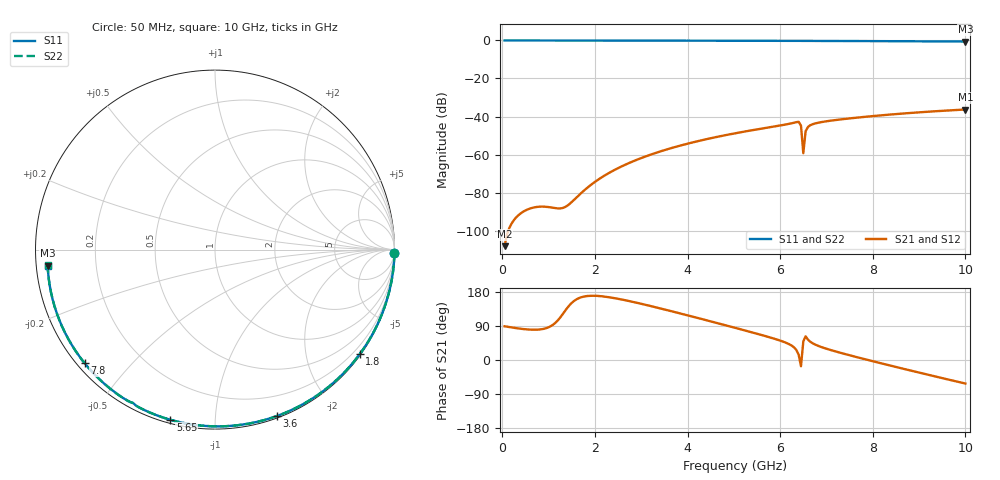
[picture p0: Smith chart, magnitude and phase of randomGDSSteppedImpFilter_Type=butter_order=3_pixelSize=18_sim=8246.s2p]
! freq	dB(S11)	phase(S11)	dB(S12)	phase(S12)
!  dB(S21)	phase(S21)	dB(S22)	phase(S22)
!S-par simulation data
#  GHz  S  DB  R 50
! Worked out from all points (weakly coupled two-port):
!   200 points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, 50 MHz to 10 GHz, reference 50 ohm
!   highest |S21| = -36.32 dB at 10 GHz (marker M1); lowest = -108.2 dB at 50 MHz (marker M2)
!   lowest |S11| = -0.6 dB at 10 GHz (marker M3), VSWR 30.56, Z = 1.64 - j2.4 ohm
!   |S11| at or under -10 dB: nowhere
!   |S22| runs from -0.6 to 0.0 dB; largest |S21 - S12| = 0
!   S11 on the Smith chart (normalised r, x): 50 MHz: open; 1.8 GHz: 0.03, -3.09; 3.6 GHz: 0.02, -1.44; 5.65 GHz: 0.02, -0.77; 7.8 GHz: 0.02, -0.37; 10 GHz: 0.03, -0.05
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0.05  -0.00 -1.0  -108.17 89.0  -108.17 89.0  -0.00 -1.0
0.85  -0.02 -17.1  -87.37 81.2  -87.37 81.2  -0.02 -17.1
1.7  -0.04 -33.9  -80.34 165.4  -80.34 165.4  -0.04 -33.9
1.75  -0.04 -34.8  -79.24 167.1  -79.24 167.1  -0.04 -34.9
1.8  -0.05 -35.8  -78.18 168.2  -78.18 168.2  -0.05 -35.8
2.1  -0.05 -41.6  -72.71 168.7  -72.71 168.7  -0.05 -41.6
2.45  -0.06 -48.3  -67.75 162.7  -67.75 162.7  -0.06 -48.3
2.9  -0.07 -56.7  -62.79 151.2  -62.79 151.2  -0.07 -56.8
3.4  -0.09 -65.9  -58.45 136.5  -58.45 136.5  -0.09 -65.9
3.6  -0.09 -69.5  -56.96 130.4  -56.96 130.4  -0.09 -69.6
5.05  -0.15 -94.7  -48.71 84.2  -48.71 84.2  -0.15 -94.8
5.65  -0.17 -104.7  -46.15 64.2  -46.15 64.2  -0.17 -104.8
6.4  -0.23 -117.0  -42.79 13.9  -42.79 13.9  -0.23 -117.1
6.45  -0.27 -117.8  -44.79 -16.5  -44.79 -16.5  -0.27 -117.9
6.5  -0.27 -118.3  -59.29 49.3  -59.29 49.3  -0.27 -118.4
6.55  -0.25 -119.0  -47.70 62.5  -47.70 62.5  -0.25 -119.2
6.6  -0.24 -119.9  -45.51 53.8  -45.51 53.8  -0.24 -120.0
6.7  -0.24 -121.5  -44.06 44.3  -44.06 44.3  -0.24 -121.6
7.05  -0.26 -127.1  -42.32 27.8  -42.32 27.8  -0.26 -127.2
7.8  -0.32 -139.0  -40.23 3.0  -40.23 3.0  -0.32 -139.1
8.35  -0.38 -147.7  -39.01 -13.9  -39.01 -13.9  -0.38 -147.8
10  -0.57 -174.5  -36.32 -62.1  -36.32 -62.1  -0.57 -174.7
